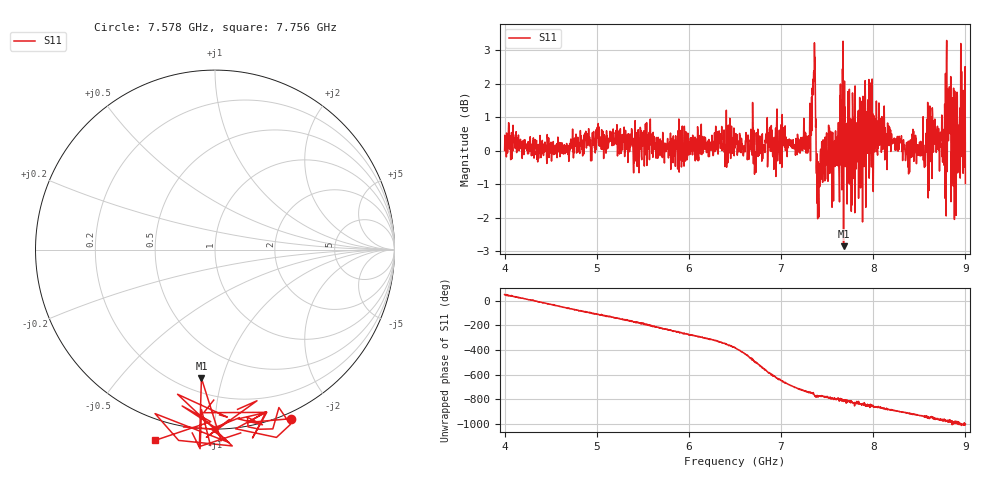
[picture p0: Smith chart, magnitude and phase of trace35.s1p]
! Created with skrf 1.8.0 (http://scikit-rf.org).
# Hz S RI R 50.0
!freq ReS11 ImS11
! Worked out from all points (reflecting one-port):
!   1601 points, 4 GHz to 9 GHz, reference 50 ohm
!   lowest |S11| = -2.8 dB at 7.678 GHz (marker M1), VSWR 6.15, Z = 14.4 - j42.9 ohm
!   phase of S11 starts at 50 deg and turns -1049 deg over the sweep
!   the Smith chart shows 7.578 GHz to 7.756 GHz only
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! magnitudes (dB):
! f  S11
! 4 GHz  0.0
! 4.625 GHz  -0.1
! 5.25 GHz  0.0
! 5.875 GHz  -0.1
! 6.5 GHz  0.2
! 7.125 GHz  0.2
! 7.294 GHz  0.0
! 7.347 GHz  2.1
! 7.362 GHz  3.2
! 7.397 GHz  -2.0
! 7.409 GHz  -2.0
! 7.538 GHz  0.6
! 7.609 GHz  0.3
! 7.662 GHz  -0.9
! 7.678 GHz  -2.8
! 7.75 GHz  -1.0
! 7.775 GHz  1.7
! 7.8 GHz  -1.9
! 7.966 GHz  -0.1
! 8.375 GHz  -0.1
! 8.441 GHz  -0.3
! 8.581 GHz  0.2
! 8.666 GHz  0.7
! 8.766 GHz  0.3
! 8.819 GHz  0.9
! 8.869 GHz  -1.1
! 8.972 GHz  0.4
! 9 GHz  -1.0
